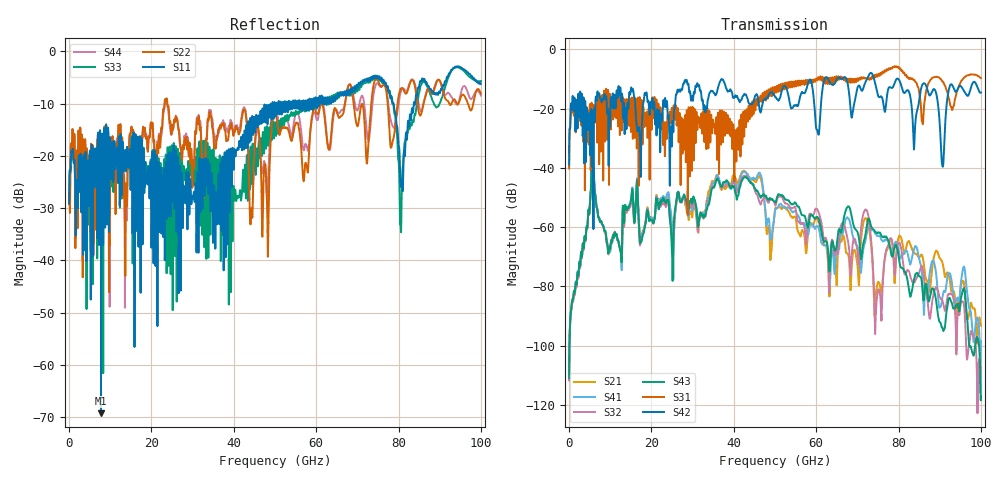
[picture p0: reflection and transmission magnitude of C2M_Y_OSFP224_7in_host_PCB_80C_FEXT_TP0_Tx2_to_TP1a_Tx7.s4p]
# GHz S RI R 45
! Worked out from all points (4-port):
!   4000 points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, 25 MHz to 100 GHz, reference 45 ohm
!   strongest paths, dB at 25 MHz, 25.02 GHz, 50.02 GHz, 75.03 GHz, 100 GHz:
!     S42: -38.9, -28.8, -16.1, -15.6, -14.6
!     S31: -40.2, -20.4, -12.9, -8.6, -9.7
!     S43: -110.8, -69.0, -51.7, -61.8, -117.0
!     S32: -111.7, -64.0, -52.5, -81.3, -107.9
!     S41: -110.5, -59.6, -54.6, -62.8, -98.4
!     S21: -111.1, -59.1, -54.2, -78.5, -93.2
!   lowest |S11| = -69.2 dB at 7.775 GHz (marker M1), VSWR 1.00, Z = 45 - j0.0302 ohm
!   |S11| at or under -10 dB: start of sweep to 49.37 GHz; 49.97 GHz to 50.37 GHz (400.3 MHz wide, 0.798 % of centre); 78.81 GHz to 83.7 GHz (4.897 GHz wide, 6.03 % of centre) (the widest 3 of 32)
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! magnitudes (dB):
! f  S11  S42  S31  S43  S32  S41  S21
! 25 MHz  -29.1  -38.9  -40.2  -110.8  -111.7  -110.5  -111.1
! 5.675 GHz  -25.6  -21.8  -26.2  -45.4  -45.5  -45.4  -45.5
! 7.775 GHz  -69.2  -17.0  -28.3  -57.9  -57.9  -58.1  -58.0
! 42.5 GHz  -17.4  -15.1  -28.9  -43.2  -42.6  -41.3  -41.0
! 86.25 GHz  -5.3  -11.5  -18.3  -82.8  -77.6  -87.3  -73.8
! 90.67 GHz  -6.8  -39.5  -10.8  -94.0  -84.8  -83.6  -72.0
! 100 GHz  -6.2  -14.6  -9.7  -117.0  -107.9  -98.4  -93.2
